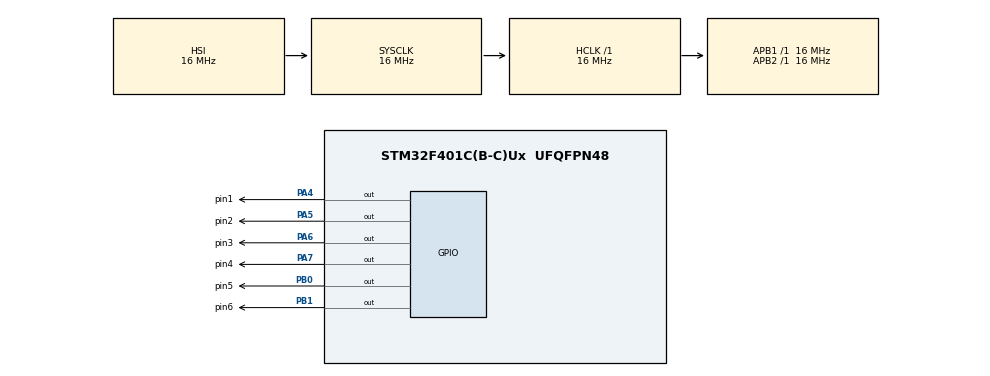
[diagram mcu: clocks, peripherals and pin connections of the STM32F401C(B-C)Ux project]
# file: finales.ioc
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Mcu.Family=STM32F4
Mcu.Name=STM32F401C(B-C)Ux
Mcu.Package=UFQFPN48
NVIC.PriorityGroup=NVIC_PRIORITYGROUP_4
PA4.GPIO_Label=pin1
PA4.Signal=GPIO_Output
PA5.GPIO_Label=pin2
PA5.Signal=GPIO_Output
PA6.GPIO_Label=pin3
PA6.Signal=GPIO_Output
PA7.GPIO_Label=pin4
PA7.Signal=GPIO_Output
PB0.GPIO_Label=pin5
PB0.Signal=GPIO_Output
PB1.GPIO_Label=pin6
PB1.Signal=GPIO_Output
ProjectManager.HeapSize=0x200
ProjectManager.StackSize=0x400
ProjectManager.TargetToolchain=CMake
RCC.AHBFreq_Value=16000000
RCC.APB1Freq_Value=16000000
RCC.APB2Freq_Value=16000000
RCC.CortexFreq_Value=16000000
RCC.HSE_VALUE=25000000
RCC.HSI_VALUE=16000000
RCC.LSE_VALUE=32768
RCC.SYSCLKFreq_VALUE=16000000
RCC.VCOOutputFreq_Value=192000000
board=custom

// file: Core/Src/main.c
/* USER CODE BEGIN Header */
/**
  ******************************************************************************
  * @file           : main.c
  * @brief          : Main program body
  ******************************************************************************
  * @attention
  *
  * Copyright (c) 2026 STMicroelectronics.
  * All rights reserved.
  *
  * This software is licensed under terms that can be found in the LICENSE file
  * in the root directory of this software component.
  * If no LICENSE file comes with this software, it is provided AS-IS.
  *
  ******************************************************************************
  */
/* USER CODE END Header */
#include "main.h"

void SystemClock_Config(void);
static void MX_GPIO_Init(void);

/* USER CODE BEGIN 0 */

/*
 * motorA: controla el motor A.
 * Parámetro "dir" (dirección):
 *    1 = adelante
 *   -1 = atrás
 *    0 = detenido
 */
/*
 * motorA: controla el motor A (izquierdo).
 * Parámetro "dir":  1 = adelante,  -1 = atrás,  0 = detenido
 */
static void motorA(int8_t dir)
{
  // IN1 (pin1) se enciende SOLO para ir adelante
  HAL_GPIO_WritePin(pin1_GPIO_Port, pin1_Pin, (dir > 0)  ? GPIO_PIN_SET : GPIO_PIN_RESET);

  // IN2 (pin2) se enciende SOLO para ir atrás
  HAL_GPIO_WritePin(pin2_GPIO_Port, pin2_Pin, (dir < 0)  ? GPIO_PIN_SET : GPIO_PIN_RESET);

  // ENA (pin3) se enciende si el motor debe moverse en cualquier sentido
  HAL_GPIO_WritePin(pin3_GPIO_Port, pin3_Pin, (dir != 0) ? GPIO_PIN_SET : GPIO_PIN_RESET);
}

/*
 * motorB: controla el motor B (derecho).
 * Parámetro "dir":  1 = adelante,  -1 = atrás,  0 = detenido
 */

static void motorB(int8_t dir)
{
  // IN3 (pin4): ahora se enciende para ir ATRÁS
  HAL_GPIO_WritePin(pin4_GPIO_Port, pin4_Pin, (dir < 0)  ? GPIO_PIN_SET : GPIO_PIN_RESET);

  // IN4 (pin5): ahora se enciende para ir ADELANTE
  HAL_GPIO_WritePin(pin5_GPIO_Port, pin5_Pin, (dir > 0)  ? GPIO_PIN_SET : GPIO_PIN_RESET);

  // ENB (pin6): sin cambios, habilita el motor
  HAL_GPIO_WritePin(pin6_GPIO_Port, pin6_Pin, (dir != 0) ? GPIO_PIN_SET : GPIO_PIN_RESET);
}

/*
 * detener: apaga los dos motores al mismo tiempo.
 * Se usa al final de cada movimiento para que el robot se pare.
 */
static void detener(void)
{
  motorA(0);   // motor A parado
  motorB(0);   // motor B parado
}

/*
 * avanzar: el robot va hacia adelante en línea recta.
 * Los dos motores giran hacia adelante durante "ms" milisegundos.
 * Ejemplo: avanzar(4000) = avanza 4 segundos.
 */
static void avanzar(uint32_t ms)
{
  motorA(1);          // motor A adelante
  motorB(1);          // motor B adelante
  HAL_Delay(ms);      // espera el tiempo indicado (los motores siguen girando)
  detener();          // se detiene al terminar
}

/*
 * girar_izquierda: el robot gira sobre su propio eje hacia la izquierda.
 * Un motor va hacia atrás y el otro hacia adelante, así el robot rota sin avanzar.
 * Si en tu robot gira hacia el lado contrario, cambia entre sí los valores -1 y 1.
 */
static void girar_izquierda(uint32_t ms)
{
  motorA(-1);         // motor A atrás
  motorB(1);          // motor B adelante
  HAL_Delay(ms);      // gira durante "ms" milisegundos
  detener();          // se detiene al terminar
}

/*
 * retroceder: el robot va hacia atrás en línea recta.
 * Los dos motores giran hacia atrás durante "ms" milisegundos.
 */
static void retroceder(uint32_t ms)
{
  motorA(-1);         // motor A atrás
  motorB(-1);         // motor B atrás
  HAL_Delay(ms);      // espera el tiempo indicado
  detener();          // se detiene al terminar
}

/*
 * girar_derecha: el robot gira sobre su propio eje hacia la derecha.
 * Es lo contrario de girar_izquierda: A adelante y B atrás.
 */
static void girar_derecha(uint32_t ms)
{
  motorA(1);          // motor A adelante
  motorB(-1);         // motor B atrás
  HAL_Delay(ms);      // gira durante "ms" milisegundos
  detener();          // se detiene al terminar
}

/* USER CODE END 0 */

int main(void)
{

  /* MCU Configuration--------------------------------------------------------*/

  /* Reset of all peripherals, Initializes the Flash interface and the Systick. */
  HAL_Init();

  /* Configure the system clock */
  SystemClock_Config();

  /* Initialize all configured peripherals */
  MX_GPIO_Init();
  /* USER CODE BEGIN 2 */

  avanzar(4000);            // Paso 1: avanza en línea recta durante 4 segundos
  HAL_Delay(500);           // Pausa de 0.5 segundos

  girar_izquierda(3000);    // Paso 2: gira hacia la izquierda durante 3 segundos
  HAL_Delay(500);           // Pausa de 0.5 segundos

  retroceder(4000);         // Paso 3: retrocede en línea recta durante 4 segundos
  HAL_Delay(500);           // Pausa de 0.5 segundos

  girar_derecha(3000);      // Paso 4: gira hacia la derecha durante 3 segundos
                            // (aquí termina el recorrido y el robot queda detenido)

  /* USER CODE END 2 */

  /* Infinite loop */
  while (1)
  {

  }
}

void SystemClock_Config(void)
{
  RCC_OscInitTypeDef RCC_OscInitStruct = {0};
  RCC_ClkInitTypeDef RCC_ClkInitStruct = {0};

  /** Configure the main internal regulator output voltage
  */
  __HAL_RCC_PWR_CLK_ENABLE();
  __HAL_PWR_VOLTAGESCALING_CONFIG(PWR_REGULATOR_VOLTAGE_SCALE2);

  /** Initializes the RCC Oscillators according to the specified parameters
  * in the RCC_OscInitTypeDef structure.
  */
  RCC_OscInitStruct.OscillatorType = RCC_OSCILLATORTYPE_HSI;
  RCC_OscInitStruct.HSIState = RCC_HSI_ON;
  RCC_OscInitStruct.HSICalibrationValue = RCC_HSICALIBRATION_DEFAULT;
  RCC_OscInitStruct.PLL.PLLState = RCC_PLL_NONE;
  if (HAL_RCC_OscConfig(&RCC_OscInitStruct) != HAL_OK)
  {
    Error_Handler();
  }

  /** Initializes the CPU, AHB and APB buses clocks
  */
  RCC_ClkInitStruct.ClockType = RCC_CLOCKTYPE_HCLK|RCC_CLOCKTYPE_SYSCLK
                              |RCC_CLOCKTYPE_PCLK1|RCC_CLOCKTYPE_PCLK2;
  RCC_ClkInitStruct.SYSCLKSource = RCC_SYSCLKSOURCE_HSI;
  RCC_ClkInitStruct.AHBCLKDivider = RCC_SYSCLK_DIV1;
  RCC_ClkInitStruct.APB1CLKDivider = RCC_HCLK_DIV1;
  RCC_ClkInitStruct.APB2CLKDivider = RCC_HCLK_DIV1;

  if (HAL_RCC_ClockConfig(&RCC_ClkInitStruct, FLASH_LATENCY_0) != HAL_OK)
  {
    Error_Handler();
  }
}

static void MX_GPIO_Init(void)
{
  GPIO_InitTypeDef GPIO_InitStruct = {0};

  /* GPIO Ports Clock Enable */
  __HAL_RCC_GPIOA_CLK_ENABLE();
  __HAL_RCC_GPIOB_CLK_ENABLE();

  /*Configure GPIO pin Output Level */
  HAL_GPIO_WritePin(GPIOA, pin1_Pin|pin2_Pin|pin3_Pin|pin4_Pin, GPIO_PIN_RESET);

  /*Configure GPIO pin Output Level */
  HAL_GPIO_WritePin(GPIOB, pin5_Pin|pin6_Pin, GPIO_PIN_RESET);

  /*Configure GPIO pins : pin1_Pin pin2_Pin pin3_Pin pin4_Pin */
  GPIO_InitStruct.Pin = pin1_Pin|pin2_Pin|pin3_Pin|pin4_Pin;
  GPIO_InitStruct.Mode = GPIO_MODE_OUTPUT_PP;
  GPIO_InitStruct.Pull = GPIO_NOPULL;
  GPIO_InitStruct.Speed = GPIO_SPEED_FREQ_LOW;
  HAL_GPIO_Init(GPIOA, &GPIO_InitStruct);

  /*Configure GPIO pins : pin5_Pin pin6_Pin */
  GPIO_InitStruct.Pin = pin5_Pin|pin6_Pin;
  GPIO_InitStruct.Mode = GPIO_MODE_OUTPUT_PP;
  GPIO_InitStruct.Pull = GPIO_NOPULL;
  GPIO_InitStruct.Speed = GPIO_SPEED_FREQ_LOW;
  HAL_GPIO_Init(GPIOB, &GPIO_InitStruct);

}

void Error_Handler(void)
{
  __disable_irq();
  while (1)
  {
  }
}
